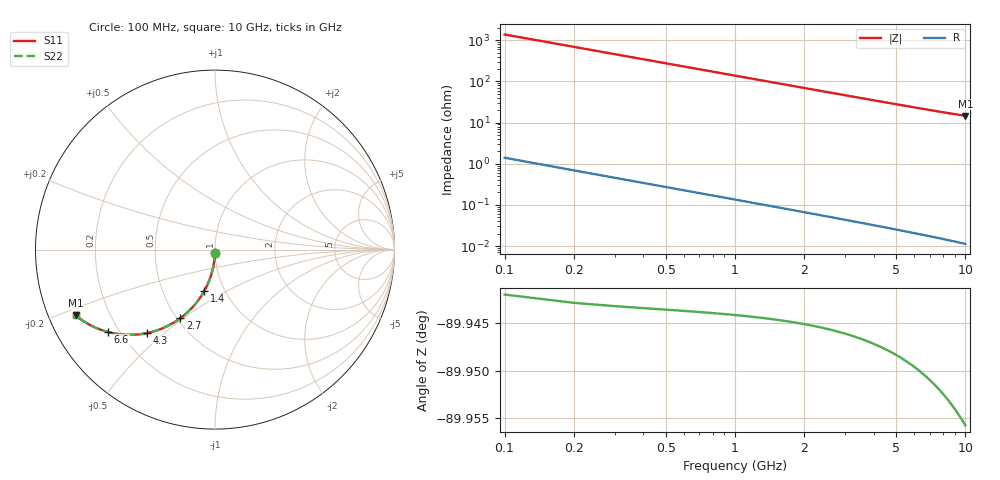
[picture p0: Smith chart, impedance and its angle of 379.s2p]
# Hz S RI R 50.00
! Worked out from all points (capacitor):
!   100 points, 100 MHz to 10 GHz, reference 50 ohm
!   read as one part in shunt: C = 1.15 pF near 100 MHz
!   lowest |Z| = 14.5 ohm at 10 GHz (marker M1)
!   S11 on the Smith chart (normalised r, x): 100 MHz: 1.00, -0.04; 1.4 GHz: 0.80, -0.39; 2.7 GHz: 0.52, -0.49; 4.3 GHz: 0.30, -0.44; 6.6 GHz: 0.16, -0.33; 10 GHz: 0.08, -0.22
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1e8  -0.000238 -0.0176  0.9995 -0.0185  0.9995 -0.0185  -0.000238 -0.0176
2e8  -0.00124 -0.0352  0.9985 -0.037  0.9985 -0.037  -0.00124 -0.0352
3e8  -0.00288 -0.0528  0.9969 -0.0555  0.9969 -0.0555  -0.00288 -0.0528
4e8  -0.00517 -0.0702  0.9946 -0.0738  0.9946 -0.0738  -0.00517 -0.0702
5e8  -0.00809 -0.0875  0.9917 -0.092  0.9917 -0.092  -0.00809 -0.0875
6e8  -0.0116 -0.1046  0.9881 -0.11  0.9881 -0.11  -0.0116 -0.1046
7e8  -0.0158 -0.1215  0.984 -0.1278  0.984 -0.1278  -0.0158 -0.1215
9e8  -0.0259 -0.1546  0.9739 -0.1627  0.9739 -0.1627  -0.0259 -0.1546
1.1e9  -0.0382 -0.1865  0.9615 -0.1965  0.9615 -0.1965  -0.0382 -0.1865
1.4e9  -0.0605 -0.2318  0.9392 -0.2445  0.9392 -0.2445  -0.0605 -0.2318
1.8e9  -0.0962 -0.2865  0.9034 -0.3029  0.9034 -0.3029  -0.0962 -0.2865
2.2e9  -0.1374 -0.3339  0.8622 -0.354  0.8622 -0.354  -0.1374 -0.3339
2.7e9  -0.1937 -0.3826  0.8057 -0.4073  0.8057 -0.4073  -0.1937 -0.3826
3.4e9  -0.2765 -0.4313  0.7228 -0.4625  0.7228 -0.4625  -0.2765 -0.4313
4.3e9  -0.3804 -0.4653  0.6186 -0.5049  0.6186 -0.5049  -0.3804 -0.4653
5.1e9  -0.4645 -0.4747  0.5341 -0.5219  0.5341 -0.5219  -0.4645 -0.4747
5.8e9  -0.5299 -0.4716  0.4684 -0.5255  0.4684 -0.5255  -0.5299 -0.4716
6.6e9  -0.5947 -0.4594  0.4031 -0.521  0.4031 -0.521  -0.5947 -0.4594
6.7e9  -0.6021 -0.4574  0.3957 -0.52  0.3957 -0.52  -0.6021 -0.4574
7.5e9  -0.6561 -0.4388  0.3412 -0.5093  0.3412 -0.5093  -0.6561 -0.4388
8.4e9  -0.7067 -0.4142  0.2899 -0.4937  0.2899 -0.4937  -0.7067 -0.4142
1e10  -0.7757 -0.367  0.2194 -0.4629  0.2194 -0.4629  -0.7757 -0.367
